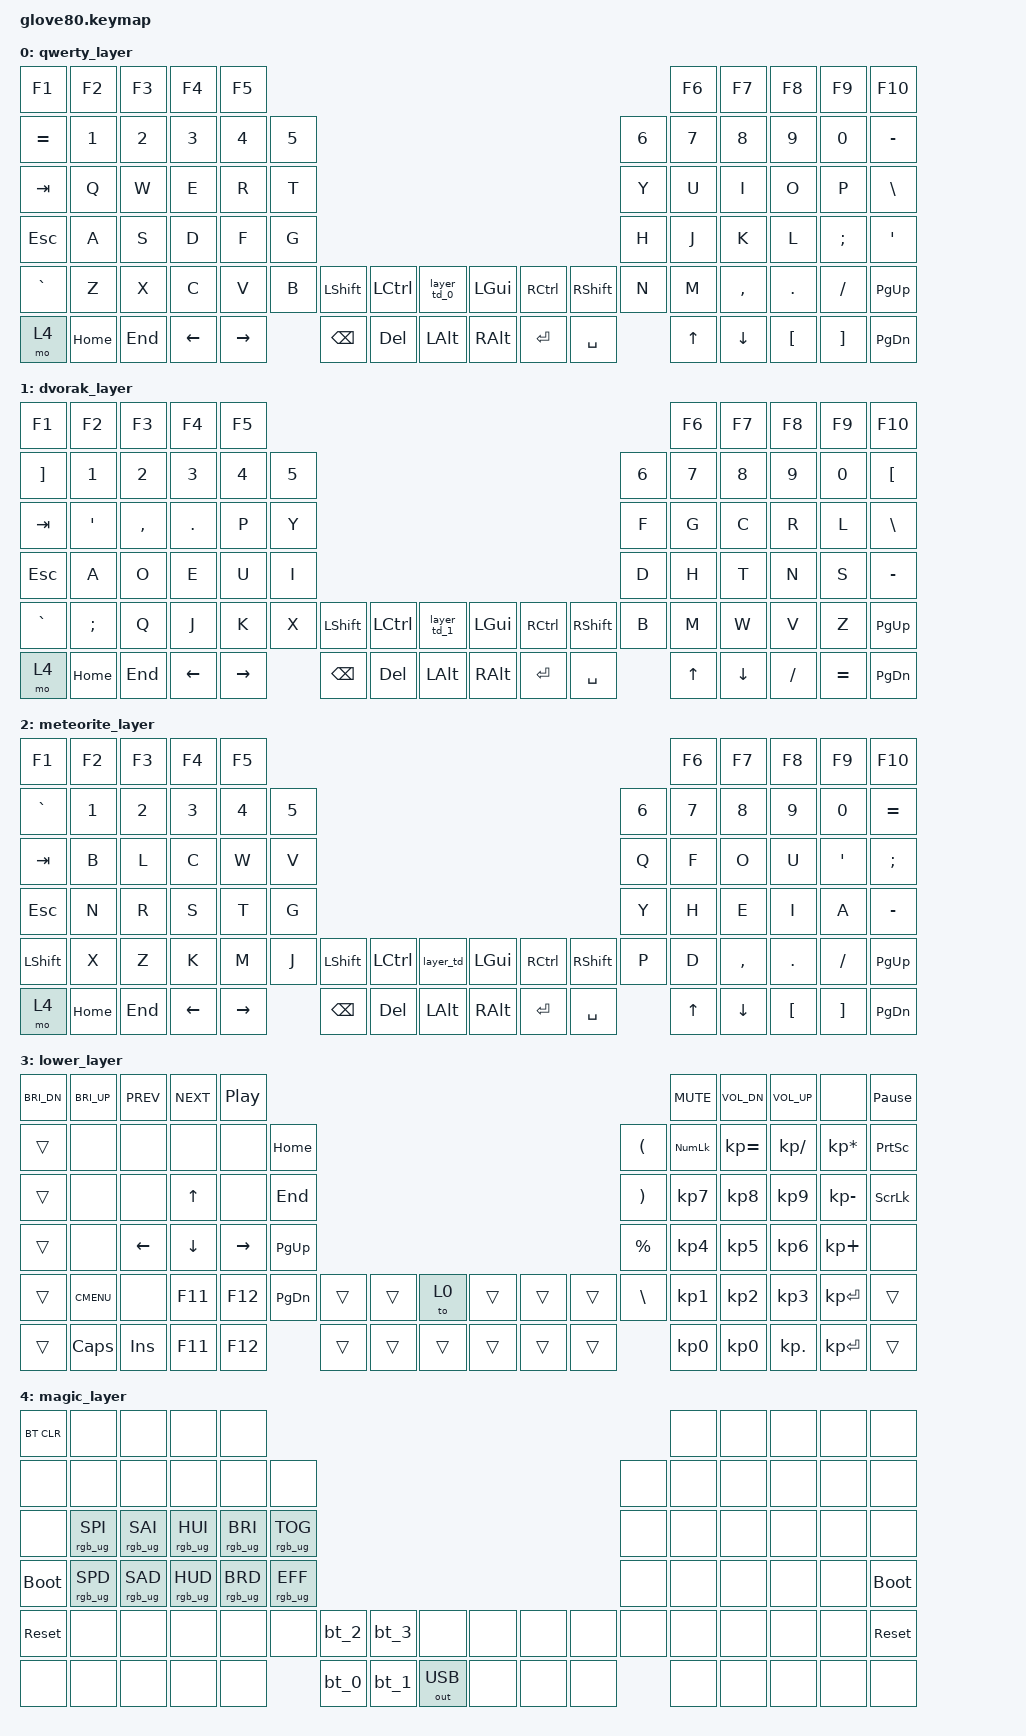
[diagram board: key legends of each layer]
/*
 * Copyright (c) 2020 The ZMK Contributors
 *
 * SPDX-License-Identifier: MIT
 */

#include <behaviors.dtsi>
#include <dt-bindings/zmk/bt.h>
#include <dt-bindings/zmk/keys.h>
#include <dt-bindings/zmk/outputs.h>
#include <dt-bindings/zmk/rgb.h>

/*                               GLOVE80 KEY MATRIX / LAYOUT MAPPING
 ╭────────────────────╮       ╭────────────────────╮ ╭────────────────────╮       ╭────────────────────╮
 │  0   1   2   3   4 ╰───┬───╯  5   6   7   8   9 │ │ LC5 LC4 LC3 LC2 LC1╰───┬───╯ RC1 RC2 RC3 RC4 RC5│
 │ 10  11  12  13  14  15 │ 16  17  18  19  20  21 │ │ LN5 LN4 LN3 LN2 LN1 LN0│ RN0 RN1 RN2 RN3 RN4 RN5│
 │ 22  23  24  25  26  27 │ 28  29  30  31  32  33 │ │ LT5 LT4 LT3 LT2 LT1 LT0│ RT0 RT1 RT2 RT3 RT4 RT5│
 │ 34  35  36  37  38  39 │ 40  41  42  43  44  45 │ │ LM5 LM4 LM3 LM2 LM1 LM0│ RM0 RM1 RM2 RM3 RM4 RM5│
 │ 46  47  48  49  50  51 │ 58  59  60  61  62  63 │ │ LB5 LB4 LB3 LB2 LB1 LB0│ RB0 RB1 RB2 RB3 RB4 RB5│
 │ 64  65  66  67  68 ╭───┴───╮ 75  76  77  78  79 │ │ LF5 LF4 LF3 LF2 LF1╭───┴───╮ RF1 RF2 RF3 RF4 RF5│
 ╰───────────┬────────┴───┬───┴────────┬───────────╯ ╰───────────┬────────┴───┬───┴────────┬───────────╯
             │ 52  53  54 │ 55  56  57 │                         │ LH5 LH4 LH3│ RH3 RH4 RH5│
             │ 69  70  71 │ 72  73  74 │                         │ LH2 LH1 LH0│ RH0 RH1 RH2│
             ╰────────────┴────────────╯                         ╰────────────┴────────────╯
 */

#define LC1  4  // left-ceiling row
#define LC2  3
#define LC3  2
#define LC4  1
#define LC5  0
#define RC1  5  // right-ceiling row
#define RC2  6
#define RC3  7
#define RC4  8
#define RC5  9
#define LN0 15  // left-number row
#define LN1 14
#define LN2 13
#define LN3 12
#define LN4 11
#define LN5 10
#define RN0 16  // right-number row
#define RN1 17
#define RN2 18
#define RN3 19
#define RN4 20
#define RN5 21
#define LT0 27  // left-top row
#define LT1 26
#define LT2 25
#define LT3 24
#define LT4 23
#define LT5 22
#define RT0 28  // right-top row
#define RT1 29
#define RT2 30
#define RT3 31
#define RT4 32
#define RT5 33
#define LM0 39  // left-middle row
#define LM1 38
#define LM2 37
#define LM3 36
#define LM4 35
#define LM5 34
#define RM0 40  // right-middle row
#define RM1 41
#define RM2 42
#define RM3 43
#define RM4 44
#define RM5 45
#define LB0 51  // left-bottom row
#define LB1 50
#define LB2 49
#define LB3 48
#define LB4 47
#define LB5 46
#define RB0 58  // right-bottom row
#define RB1 59
#define RB2 60
#define RB3 61
#define RB4 62
#define RB5 63
#define LF1 68  // left-floor row
#define LF2 67
#define LF3 66
#define LF4 65
#define LF5 64
#define RF1 75  // right-floor row
#define RF2 76
#define RF3 77
#define RF4 78
#define RF5 79
#define LH0 71  // left thumb keys
#define LH1 70
#define LH2 69
#define LH3 54
#define LH4 53
#define LH5 52
#define RH0 72  // right thumb keys
#define RH1 73
#define RH2 74
#define RH3 55
#define RH4 56
#define RH5 57

// layers

#define QWERTY 0
#define LOWER 1
#define MAGIC 2
#define DVORAK 3
#define HIEAMTRNS 4

/* Homerow mods */
// glove 80 keys that need shift modifier

#define KEYS_L LN0 LN1 LN2 LN3 LN4 LN5 LT0 LT1 LT2 LT3 LT4 LM0 LM1 LM2 LM3 LM4 LB0 LB1 LB2 LB3 LB4 LB5  // left-hand keys
#define KEYS_R RN0 RN1 RN2 RN3 RN4 RN5 RT0 RT1 RT2 RT3 RT4 RT5 RM0 RM1 RM2 RM3 RM4 RM5 RB0 RB1 RB2 RB3 RB4 RF3 RF4  // right-hand keys

//#define THUMBS LH2 LH1 LH0 RH0 RH1 RH2                                      // thumb keys

#define THUMBS

/ {
    behaviors {
        // For the "layer" key, it'd nice to be able to use it as either a shift or a toggle.
        // Configure it as a tap dance, so the first tap (or hold) is a &mo and the second tap is a &to

        layer_td: tap_dance_0 {
            compatible = "zmk,behavior-tap-dance";
            #binding-cells = <0>;
            tapping-term-ms = <200>;
            bindings = <&mo 2>, <&to 2>;
        };

        hm: homerowmods {
            compatible = "zmk,behavior-hold-tap";
            #binding-cells = <2>;

            //flavor = "balanced";             // interrupting key press triggers modified tap on key release instead of press (or tapping-term-ms timeout)

            flavor = "balanced";       // interrupting key press triggers modified tap immediately (ignores tapping-term-ms for interrpting keys)
            //flavor = "tap-preferred";        // interrupting key press only modified if hm key is held for more than tapping-term-ms, otherwise it's just a tap

            tapping-term-ms = <200>;         // how long key must be pressed to trigger hold behavior
            quick-tap-ms = <200>;            // quick tap and then hold within this time, for repeated key taps
            //require-prior-idle-ms = <125>;   // disable hold-tap behavior if typing rapidly
            //retro-tap;                       // if 1, will trigger a tap when a hold is released without another keypress

            bindings = <&kp>, <&kp>;

            hold-trigger-key-positions = <KEYS_L KEYS_R THUMBS>;
            hold-trigger-on-release;
            require-prior-idle-ms = <100>;
        };

        quote_under: quote_under {
            compatible = "zmk,behavior-mod-morph";
            label = "QUOTE_UNDER";
            bindings = <&kp SINGLE_QUOTE>, <&kp UNDER>;

            #binding-cells = <0>;
            mods = <(MOD_LSFT)>;
        };

        dash_dblquote: dash_dblquote {
            compatible = "zmk,behavior-mod-morph";
            label = "DASH_DBLQUOTE";
            bindings = <&kp MINUS>, <&kp LS(DOUBLE_QUOTES)>;

            #binding-cells = <0>;
            mods = <(MOD_LSFT)>;
        };

        fslash_less: fslash_less {
            compatible = "zmk,behavior-mod-morph";
            label = "FSLASH_LESS";
            bindings = <&kp SLASH>, <&kp LS(LESS_THAN)>;

            #binding-cells = <0>;
            mods = <(MOD_LSFT)>;
        };

        comma_question: comma_question {
            compatible = "zmk,behavior-mod-morph";
            label = "COMMA_QUESTION";
            bindings = <&kp COMMA>, <&kp LS(QUESTION)>;

            #binding-cells = <0>;
            mods = <(MOD_LSFT)>;
        };

        layer_td_0: layer_td_0 {
            compatible = "zmk,behavior-tap-dance";
            label = "LAYER_TD_0";
            #binding-cells = <0>;
            bindings = <&mo 3>, <&to 1>;
        };

        layer_td_1: layer_td_1 {
            compatible = "zmk,behavior-tap-dance";
            label = "LAYER_TD_1";
            #binding-cells = <0>;
            bindings = <&mo 3>, <&to 2>;
        };

        //// HRM repeat combo
        //hm_repeat: hold_tap_repeat {
        //    flavor = "balanced";
        //    tapping-term-ms = <280>;
        //    quick-tap-ms = <250>;
        //    global-quick-tap-ms = <150>;
        //    bindings = <&kp>, <&key_repeat>;
        //    hold-trigger-key-positions = <KEYS_R THUMBS>;
        //    hold-trigger-on-release;
        //};
    };

    macros {
        bt_0: bt_profile_macro_0 {
            compatible = "zmk,behavior-macro";
            #binding-cells = <0>;
            bindings = <&out OUT_BLE &bt BT_SEL 0>;
        };

        bt_1: bt_profile_macro_1 {
            compatible = "zmk,behavior-macro";
            #binding-cells = <0>;
            bindings = <&out OUT_BLE &bt BT_SEL 1>;
        };

        bt_2: bt_profile_macro_2 {
            compatible = "zmk,behavior-macro";
            #binding-cells = <0>;
            bindings = <&out OUT_BLE &bt BT_SEL 2>;
        };

        bt_3: bt_profile_macro_3 {
            compatible = "zmk,behavior-macro";
            #binding-cells = <0>;
            bindings = <&out OUT_BLE &bt BT_SEL 3>;
        };
    };

    keymap {
        compatible = "zmk,keymap";

        qwerty_layer {
            // ---------------------------------------------------------------------------------------------------------------------------------
            // |  F1   |  F2 |  F3 |  F4  |  F5  |                                                               |  F6   |  F7   |  F8  |   F9  |  F10 |
            // |  =    |  1  |  2  |  3   |  4   |  5   |                                                 |  6   |   7   |   8   |  9   |   0   |   -  |
            // |  TAB  |  Q  |  W  |  E   |  R   |  T   |                                                 |  Y   |   U   |   I   |  O   |   P   |   \  |
            // |  ESC  |  A  |  S  |  D   |  F   |  G   |                                                 |  H   |   J   |   K   |  L   |   ;   |   '  |
            // |   `   |  Z  |  X  |  C   |  V   |  B   | LSHFT | LCTRL | LOWER | | LGUI  | RCTRL | RSHFT |  N   |   M   |   ,   |  .   |   /   | PGUP |
            // | MAGIC | HOME| END | LEFT | RIGHT|      | BSPC  | DEL   | LALT  | | RALT  | RET   | SPACE |      |  UP   | DOWN  |  [   |   ]   | PGDN |

            bindings = <
&kp F1     &kp F2    &kp F3   &kp F4    &kp F5                                                                                          &kp F6  &kp F7     &kp F8    &kp F9    &kp F10
&kp EQUAL  &kp N1    &kp N2   &kp N3    &kp N4     &kp N5                                                                       &kp N6  &kp N7  &kp N8     &kp N9    &kp N0    &kp MINUS
&kp TAB    &kp Q     &kp W    &kp E     &kp R      &kp T                                                                        &kp Y   &kp U   &kp I      &kp O     &kp P     &kp BSLH
&kp ESC    &kp A     &kp S    &kp D     &kp F      &kp G                                                                        &kp H   &kp J   &kp K      &kp L     &kp SEMI  &kp SQT
&kp GRAVE  &kp Z     &kp X    &kp C     &kp V      &kp B   &kp LSHFT  &kp LCTRL  &layer_td_0    &kp LGUI  &kp RCTRL  &kp RSHFT  &kp N   &kp M   &kp COMMA  &kp DOT   &kp FSLH  &kp PG_UP
&mo 4      &kp HOME  &kp END  &kp LEFT  &kp RIGHT          &kp BSPC   &kp DEL    &kp LALT       &kp RALT  &kp RET    &kp SPACE          &kp UP  &kp DOWN   &kp LBKT  &kp RBKT  &kp PG_DN
            >;
        };

        dvorak_layer {
            // ---------------------------------------------------------------------------------------------------------------------------------
            // |  F1   |  F2 |  F3 |  F4  |  F5  |                                                               |  F6   |  F7   |  F8  |   F9  |  F10 |
            // |  ]    |  1  |  2  |  3   |  4   |  5   |                                                 |  6   |   7   |   8   |  9   |   0   |   [  |
            // |  TAB  |  '  |  ,  |  .   |  P   |  Y   |                                                 |  F   |   G   |   C   |  R   |   L   |   \  |
            // |  ESC  |  A  |  O  |  E   |  U   |  I   |                                                 |  D   |   H   |   T   |  N   |   S   |   -  |
            // |   `   |  ;  |  Q  |  J   |  K   |  X   | LSHFT | LCTRL | LOWER | | LGUI  | RCTRL | RSHFT |  B   |   M   |   W   |  V   |   Z   | PGUP |
            // | MAGIC | HOME| END | LEFT | RIGHT|      | BSPC  | DEL   | LALT  | | RALT  | RET   | SPACE |      |  UP   | DOWN  |  /   |   =   | PGDN |

            bindings = <
&kp F1             &kp F2    &kp F3     &kp F4    &kp F5                                                                                          &kp F6  &kp F7    &kp F8    &kp F9     &kp F10
&kp RIGHT_BRACKET  &kp N1    &kp N2     &kp N3    &kp N4     &kp N5                                                                       &kp N6  &kp N7  &kp N8    &kp N9    &kp N0     &kp LBKT
&kp TAB            &kp SQT   &kp COMMA  &kp DOT   &kp P      &kp Y                                                                        &kp F   &kp G   &kp C     &kp R     &kp L      &kp BSLH
&kp ESC            &kp A     &kp O      &kp E     &kp U      &kp I                                                                        &kp D   &kp H   &kp T     &kp N     &kp S      &kp MINUS
&kp GRAVE          &kp SEMI  &kp Q      &kp J     &kp K      &kp X   &kp LSHFT  &kp LCTRL  &layer_td_1    &kp LGUI  &kp RCTRL  &kp RSHFT  &kp B   &kp M   &kp W     &kp V     &kp Z      &kp PG_UP
&mo 4              &kp HOME  &kp END    &kp LEFT  &kp RIGHT          &kp BSPC   &kp DEL    &kp LALT       &kp RALT  &kp RET    &kp SPACE          &kp UP  &kp DOWN  &kp FSLH  &kp EQUAL  &kp PG_DN
            >;
        };

        meteorite_layer {
            // ---------------------------------------------------------------------------------------------------------------------------------
            // |  F1   |  F2 |  F3 |  F4  |  F5  |                                                               |  F6   |  F7   |  F8  |   F9  |  F10 |
            // |  ]    |  1  |  2  |  3   |  4   |  5   |                                                 |  6   |   7   |   8   |  9   |   0   |   [  |
            // |  TAB  |  '  |  ,  |  .   |  P   |  Y   |                                                 |  F   |   G   |   C   |  R   |   L   |   \  |
            // |  ESC  |  A  |  O  |  E   |  U   |  I   |                                                 |  D   |   H   |   T   |  N   |   S   |   -  |
            // |   `   |  ;  |  Q  |  J   |  K   |  X   | LSHFT | LCTRL | LOWER | | LGUI  | RCTRL | RSHFT |  B   |   M   |   W   |  V   |   Z   | PGUP |
            // | MAGIC | HOME| END | LEFT | RIGHT|      | BSPC  | DEL   | LALT  | | RALT  | RET   | SPACE |      |  UP   | DOWN  |  /   |   =   | PGDN |

            bindings = <
&kp F1          &kp F2    &kp F3   &kp F4    &kp F5                                                                                        &kp F6  &kp F7     &kp F8            &kp F9             &kp F10
&kp GRAVE       &kp N1    &kp N2   &kp N3    &kp N4     &kp N5                                                                     &kp N6  &kp N7  &kp N8     &kp N9            &kp N0             &kp EQUAL
&kp TAB         &kp B     &kp L    &kp C     &kp W      &kp V                                                                      &kp Q   &kp F   &kp O      &kp U             &kp SINGLE_QUOTE   &kp SEMI
&kp ESC         &kp N     &kp R    &kp S     &kp T      &kp G                                                                      &kp Y   &kp H   &kp E      &kp I             &kp A              &kp MINUS
&kp LEFT_SHIFT  &kp X     &kp Z    &kp K     &kp M      &kp J   &kp LSHFT  &kp LCTRL  &layer_td    &kp LGUI  &kp RCTRL  &kp RSHFT  &kp P   &kp D   &kp COMMA  &kp PERIOD        &kp SLASH          &kp PG_UP
&mo 4           &kp HOME  &kp END  &kp LEFT  &kp RIGHT          &kp BSPC   &kp DEL    &kp LALT     &kp RALT  &kp RET    &kp SPACE          &kp UP  &kp DOWN   &kp LEFT_BRACKET  &kp RIGHT_BRACKET  &kp PG_DN
            >;
        };

        lower_layer {
            bindings = <
&kp C_BRI_DN  &kp C_BRI_UP  &kp C_PREV  &kp C_NEXT  &kp C_PP                                                                               &kp C_MUTE  &kp C_VOL_DN  &kp C_VOL_UP   &none            &kp PAUSE_BREAK
&trans        &none         &none       &none       &none      &kp HOME                                                     &kp LPAR       &kp KP_NUM  &kp KP_EQUAL  &kp KP_DIVIDE  &kp KP_MULTIPLY  &kp PSCRN
&trans        &none         &none       &kp UP      &none      &kp END                                                      &kp RPAR       &kp KP_N7   &kp KP_N8     &kp KP_N9      &kp KP_MINUS     &kp SLCK
&trans        &none         &kp LEFT    &kp DOWN    &kp RIGHT  &kp PG_UP                                                    &kp PRCNT      &kp KP_N4   &kp KP_N5     &kp KP_N6      &kp KP_PLUS      &none
&trans        &kp K_CMENU   &none       &kp F11     &kp F12    &kp PG_DN  &trans  &trans  &to 0     &trans  &trans  &trans  &kp BACKSLASH  &kp KP_N1   &kp KP_N2     &kp KP_N3      &kp KP_ENTER     &trans
&trans        &kp CAPS      &kp INS     &kp F11     &kp F12               &trans  &trans  &trans    &trans  &trans  &trans                 &kp KP_N0   &kp KP_N0     &kp KP_DOT     &kp KP_ENTER     &trans
            >;
        };

        magic_layer {
            bindings = <
&bt BT_CLR   &none            &none            &none            &none                                                                                       &none  &none  &none  &none  &none
&none        &none            &none            &none            &none            &none                                                               &none  &none  &none  &none  &none  &none
&none        &rgb_ug RGB_SPI  &rgb_ug RGB_SAI  &rgb_ug RGB_HUI  &rgb_ug RGB_BRI  &rgb_ug RGB_TOG                                                     &none  &none  &none  &none  &none  &none
&bootloader  &rgb_ug RGB_SPD  &rgb_ug RGB_SAD  &rgb_ug RGB_HUD  &rgb_ug RGB_BRD  &rgb_ug RGB_EFF                                                     &none  &none  &none  &none  &none  &bootloader
&sys_reset   &none            &none            &none            &none            &none            &bt_2  &bt_3  &none           &none  &none  &none  &none  &none  &none  &none  &none  &sys_reset
&none        &none            &none            &none            &none                             &bt_0  &bt_1  &out OUT_USB    &none  &none  &none         &none  &none  &none  &none  &none
            >;
        };
    };
};
